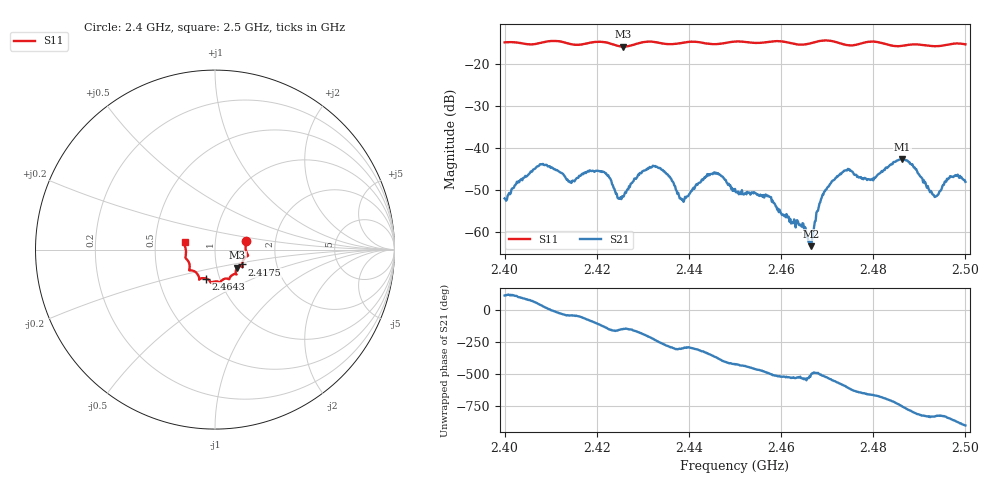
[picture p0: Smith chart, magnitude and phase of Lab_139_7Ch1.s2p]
# Hz S RI R 50
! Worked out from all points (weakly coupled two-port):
!   601 points, 2.4 GHz to 2.5 GHz, reference 50 ohm
!   highest |S21| = -42.55 dB at 2.4863 GHz (marker M1); lowest = -63.3 dB at 2.4665 GHz (marker M2)
!   lowest |S11| = -15.9 dB at 2.4257 GHz (marker M3), VSWR 1.38, Z = 62.7 - j13 ohm
!   |S11| at or under -10 dB: start of sweep to end of sweep
!   S12 and S22 are empty: the file has one direction only
!   S11 on the Smith chart (normalised r, x): 2.4 GHz: 1.41, +0.15; 2.4175 GHz: 1.34, -0.23; 2.4643 GHz: 0.86, -0.29; 2.5 GHz: 0.71, +0.06
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2.4e9  0.1727 0.0502  -0.0011 0.00228  0 0  0 0
2.407833e9  0.1768 -0.0175  0.00488 0.00424  0 0  0 0
2.414e9  0.1673 -0.0452  0.00297 -0.00273  0 0  0 0
2.416667e9  0.1531 -0.0731  0.00285 -0.00394  0 0  0 0
2.4175e9  0.1521 -0.0827  0.00209 -0.00473  0 0  0 0
2.4215e9  0.1545 -0.0951  -0.00324 -0.0041  0 0  0 0
2.425667e9  0.124 -0.1011  -0.00228 -0.00134  0 0  0 0
2.433333e9  0.1146 -0.1367  -0.00232 0.00537  0 0  0 0
2.4385e9  0.0821 -0.1572  0.00118 0.00212  0 0  0 0
2.445333e9  0.0541 -0.1624  0.00508 -0.000105  0 0  0 0
2.45e9  0.0299 -0.1816  0.00136 -0.00299  0 0  0 0
2.457333e9  -0.0151 -0.1818  -0.00192 -0.00188  0 0  0 0
2.464333e9  -0.0492 -0.1617  -0.00121 -0.000151  0 0  0 0
2.4665e9  -0.0741 -0.1597  -0.000554 -0.000406  0 0  0 0
2.466667e9  -0.0755 -0.1601  -0.000588 -0.000533  0 0  0 0
2.468833e9  -0.0878 -0.1667  -0.00231 -0.0012  0 0  0 0
2.471667e9  -0.0879 -0.1606  -0.00409 0.00126  0 0  0 0
2.483333e9  -0.141 -0.0912  0.00577 0.00181  0 0  0 0
2.486333e9  -0.1519 -0.0608  0.00598 -0.00446  0 0  0 0
2.493333e9  -0.1616 -0.0109  -0.0011 -0.00239  0 0  0 0
2.4965e9  -0.1689 0.0237  -0.00277 -0.00342  0 0  0 0
2.5e9  -0.1652 0.0422  -0.00397 0.000337  0 0  0 0
